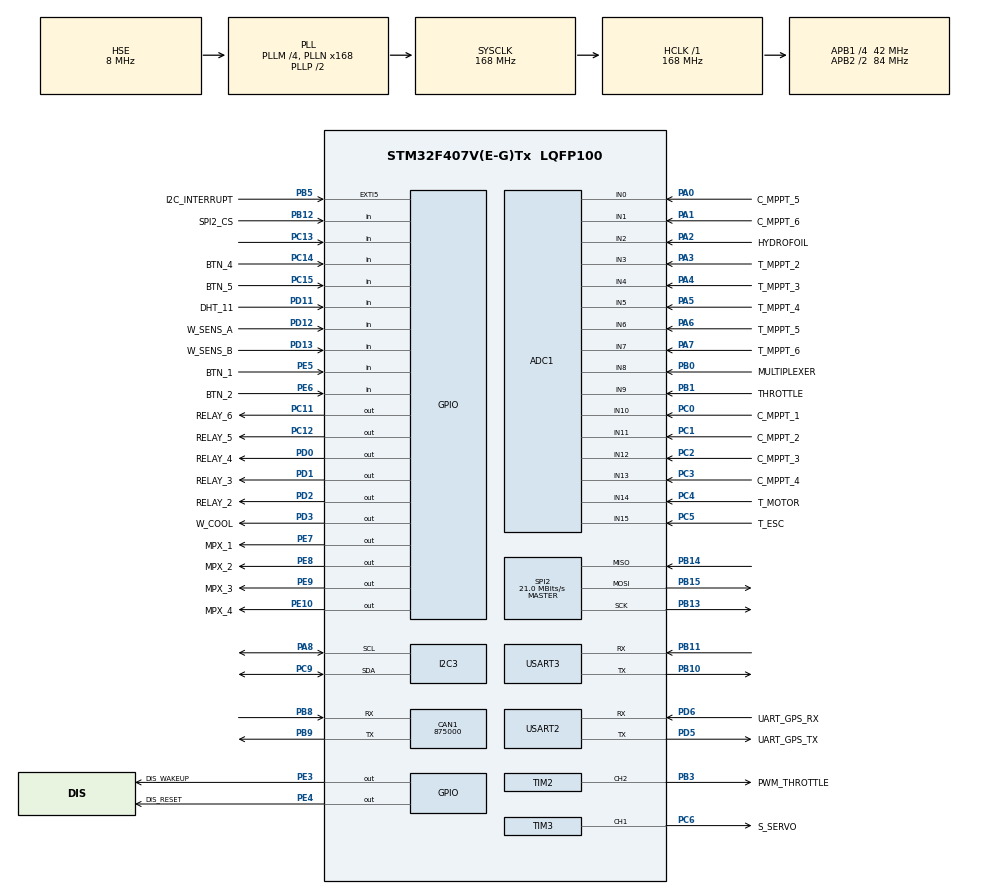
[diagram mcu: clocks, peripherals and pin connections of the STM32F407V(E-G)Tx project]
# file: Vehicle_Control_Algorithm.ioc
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ADC1.Channel-0\#ChannelRegularConversion=ADC_CHANNEL_0
ADC1.Channel-1\#ChannelRegularConversion=ADC_CHANNEL_1
ADC1.Channel-10\#ChannelRegularConversion=ADC_CHANNEL_10
ADC1.Channel-11\#ChannelRegularConversion=ADC_CHANNEL_11
ADC1.Channel-12\#ChannelRegularConversion=ADC_CHANNEL_12
ADC1.Channel-13\#ChannelRegularConversion=ADC_CHANNEL_13
ADC1.Channel-14\#ChannelRegularConversion=ADC_CHANNEL_14
ADC1.Channel-15\#ChannelRegularConversion=ADC_CHANNEL_15
ADC1.Channel-2\#ChannelRegularConversion=ADC_CHANNEL_2
ADC1.Channel-3\#ChannelRegularConversion=ADC_CHANNEL_3
ADC1.Channel-4\#ChannelRegularConversion=ADC_CHANNEL_4
ADC1.Channel-5\#ChannelRegularConversion=ADC_CHANNEL_5
ADC1.Channel-6\#ChannelRegularConversion=ADC_CHANNEL_6
ADC1.Channel-7\#ChannelRegularConversion=ADC_CHANNEL_7
ADC1.Channel-8\#ChannelRegularConversion=ADC_CHANNEL_8
ADC1.Channel-9\#ChannelRegularConversion=ADC_CHANNEL_9
ADC1.ContinuousConvMode=ENABLE
ADC1.DMAContinuousRequests=ENABLE
ADC1.EnableAnalogWatchDog=false
ADC1.InjNumberOfConversion=0
ADC1.NbrOfConversion=16
ADC1.NbrOfConversionFlag=1
ADC1.Rank-0\#ChannelRegularConversion=1
ADC1.Rank-1\#ChannelRegularConversion=2
ADC1.Rank-10\#ChannelRegularConversion=11
ADC1.Rank-11\#ChannelRegularConversion=12
ADC1.Rank-12\#ChannelRegularConversion=13
ADC1.Rank-13\#ChannelRegularConversion=14
ADC1.Rank-14\#ChannelRegularConversion=15
ADC1.Rank-15\#ChannelRegularConversion=16
ADC1.Rank-2\#ChannelRegularConversion=3
ADC1.Rank-3\#ChannelRegularConversion=4
ADC1.Rank-4\#ChannelRegularConversion=5
ADC1.Rank-5\#ChannelRegularConversion=6
ADC1.Rank-6\#ChannelRegularConversion=7
ADC1.Rank-7\#ChannelRegularConversion=8
ADC1.Rank-8\#ChannelRegularConversion=9
ADC1.Rank-9\#ChannelRegularConversion=10
ADC1.SamplingTime-0\#ChannelRegularConversion=ADC_SAMPLETIME_15CYCLES
ADC1.SamplingTime-1\#ChannelRegularConversion=ADC_SAMPLETIME_15CYCLES
ADC1.SamplingTime-10\#ChannelRegularConversion=ADC_SAMPLETIME_15CYCLES
ADC1.SamplingTime-11\#ChannelRegularConversion=ADC_SAMPLETIME_15CYCLES
ADC1.SamplingTime-12\#ChannelRegularConversion=ADC_SAMPLETIME_15CYCLES
ADC1.SamplingTime-13\#ChannelRegularConversion=ADC_SAMPLETIME_15CYCLES
ADC1.SamplingTime-14\#ChannelRegularConversion=ADC_SAMPLETIME_15CYCLES
ADC1.SamplingTime-15\#ChannelRegularConversion=ADC_SAMPLETIME_15CYCLES
ADC1.SamplingTime-2\#ChannelRegularConversion=ADC_SAMPLETIME_15CYCLES
ADC1.SamplingTime-3\#ChannelRegularConversion=ADC_SAMPLETIME_15CYCLES
ADC1.SamplingTime-4\#ChannelRegularConversion=ADC_SAMPLETIME_15CYCLES
ADC1.SamplingTime-5\#ChannelRegularConversion=ADC_SAMPLETIME_15CYCLES
ADC1.SamplingTime-6\#ChannelRegularConversion=ADC_SAMPLETIME_15CYCLES
ADC1.SamplingTime-7\#ChannelRegularConversion=ADC_SAMPLETIME_15CYCLES
ADC1.SamplingTime-8\#ChannelRegularConversion=ADC_SAMPLETIME_15CYCLES
ADC1.SamplingTime-9\#ChannelRegularConversion=ADC_SAMPLETIME_15CYCLES
ADC1.master=1
CAN1.CalculateBaudRate=875000
CAN1.CalculateTimeBit=1142
CAN1.CalculateTimeQuantum=380.95238095238096
Dma.ADC1.0.Direction=DMA_PERIPH_TO_MEMORY
Dma.ADC1.0.FIFOMode=DMA_FIFOMODE_DISABLE
Dma.ADC1.0.Instance=DMA2_Stream0
Dma.ADC1.0.MemDataAlignment=DMA_MDATAALIGN_WORD
Dma.ADC1.0.MemInc=DMA_MINC_ENABLE
Dma.ADC1.0.Mode=DMA_CIRCULAR
Dma.ADC1.0.PeriphDataAlignment=DMA_PDATAALIGN_WORD
Dma.ADC1.0.PeriphInc=DMA_PINC_DISABLE
Dma.ADC1.0.Priority=DMA_PRIORITY_LOW
Dma.Request0=ADC1
Dma.Request1=USART2_RX
Dma.USART2_RX.1.Direction=DMA_PERIPH_TO_MEMORY
Dma.USART2_RX.1.FIFOMode=DMA_FIFOMODE_DISABLE
Dma.USART2_RX.1.Instance=DMA1_Stream5
Dma.USART2_RX.1.MemDataAlignment=DMA_MDATAALIGN_BYTE
Dma.USART2_RX.1.MemInc=DMA_MINC_ENABLE
Dma.USART2_RX.1.Mode=DMA_CIRCULAR
Dma.USART2_RX.1.PeriphDataAlignment=DMA_PDATAALIGN_BYTE
Dma.USART2_RX.1.PeriphInc=DMA_PINC_DISABLE
Dma.USART2_RX.1.Priority=DMA_PRIORITY_LOW
FREERTOS.Tasks01=Data_Manage_,2,1024,Data_Management_Algorithm,Default,NULL,Dynamic,NULL,NULL;Throttle_,2,256,Throttle_Algorithm,Default,NULL,Dynamic,NULL,NULL;Temp_Man_,-1,2048,Temperature_Manegement_Algorithm,Default,NULL,Dynamic,NULL,NULL;Range_,1,1024,Range_Algorithm,Default,NULL,Dynamic,NULL,NULL;Display_,-1,1024,Display_Algorithm,Default,NULL,Dynamic,NULL,NULL;Hydrofoil,2,256,Hydrofoil_Algorithm,Default,NULL,Dynamic,NULL,NULL
FREERTOS.configTOTAL_HEAP_SIZE=25800
Mcu.Family=STM32F4
Mcu.Name=STM32F407V(E-G)Tx
Mcu.Package=LQFP100
NVIC.DMA1_Stream5_IRQn=true\:5\:0\:false\:false\:true\:true\:false\:true\:true
NVIC.DMA2_Stream0_IRQn=true\:5\:0\:false\:false\:true\:true\:false\:true\:true
NVIC.PriorityGroup=NVIC_PRIORITYGROUP_4
NVIC.TIM1_CC_IRQn=true\:5\:0\:false\:false\:true\:true\:true\:true\:true
NVIC.TIM5_IRQn=true\:15\:0\:false\:false\:true\:false\:false\:true\:true
NVIC.TimeBase=TIM5_IRQn
NVIC.TimeBaseIP=TIM5
PA0-WKUP.GPIO_Label=C_MPPT_5
PA0-WKUP.Signal=ADCx_IN0
PA1.GPIO_Label=C_MPPT_6
PA1.Signal=ADCx_IN1
PA13.Mode=Serial_Wire
PA13.Signal=SYS_JTMS-SWDIO
PA14.Mode=Serial_Wire
PA14.Signal=SYS_JTCK-SWCLK
PA2.GPIO_Label=HYDROFOIL
PA2.Signal=ADCx_IN2
PA3.GPIO_Label=T_MPPT_2
PA3.Signal=ADCx_IN3
PA4.GPIO_Label=T_MPPT_3
PA4.Signal=ADCx_IN4
PA5.GPIO_Label=T_MPPT_4
PA5.Signal=ADCx_IN5
PA6.GPIO_Label=T_MPPT_5
PA6.Signal=ADCx_IN6
PA7.GPIO_Label=T_MPPT_6
PA7.Signal=ADCx_IN7
PA8.Mode=I2C
PA8.Signal=I2C3_SCL
PB0.GPIO_Label=MULTIPLEXER
PB0.Signal=ADCx_IN8
PB1.GPIO_Label=THROTTLE
PB1.Signal=ADCx_IN9
PB10.Mode=Asynchronous
PB10.Signal=USART3_TX
PB11.Mode=Asynchronous
PB11.Signal=USART3_RX
PB12.GPIO_Label=SPI2_CS
PB12.Signal=GPIO_Input
PB13.Mode=Full_Duplex_Master
PB13.Signal=SPI2_SCK
PB14.Mode=Full_Duplex_Master
PB14.Signal=SPI2_MISO
PB15.Mode=Full_Duplex_Master
PB15.Signal=SPI2_MOSI
PB3.GPIO_Label=PWM_THROTTLE
PB3.Signal=S_TIM2_CH2
PB5.GPIO_Label=I2C_INTERRUPT
PB5.Signal=GPXTI5
PB8.Mode=CAN_Activate
PB8.Signal=CAN1_RX
PB9.Mode=CAN_Activate
PB9.Signal=CAN1_TX
PC0.GPIO_Label=C_MPPT_1
PC0.Signal=ADCx_IN10
PC1.GPIO_Label=C_MPPT_2
PC1.Signal=ADCx_IN11
PC11.GPIO_Label=RELAY_6
PC11.Signal=GPIO_Output
PC12.GPIO_Label=RELAY_5
PC12.Signal=GPIO_Output
PC13-ANTI_TAMP.Signal=GPIO_Input
PC14-OSC32_IN.GPIO_Label=BTN_4
PC14-OSC32_IN.Signal=GPIO_Input
PC15-OSC32_OUT.GPIO_Label=BTN_5
PC15-OSC32_OUT.Signal=GPIO_Input
PC2.GPIO_Label=C_MPPT_3
PC2.Signal=ADCx_IN12
PC3.GPIO_Label=C_MPPT_4
PC3.Signal=ADCx_IN13
PC4.GPIO_Label=T_MOTOR
PC4.Signal=ADCx_IN14
PC5.GPIO_Label=T_ESC
PC5.Signal=ADCx_IN15
PC6.GPIO_Label=S_SERVO
PC6.Signal=S_TIM3_CH1
PC9.Mode=I2C
PC9.Signal=I2C3_SDA
PD0.GPIO_Label=RELAY_4
PD0.Signal=GPIO_Output
PD1.GPIO_Label=RELAY_3
PD1.Signal=GPIO_Output
PD11.GPIO_Label=DHT_11
PD11.Signal=GPIO_Input
PD12.GPIO_Label=W_SENS_A
PD12.Signal=GPIO_Input
PD13.GPIO_Label=W_SENS_B
PD13.Signal=GPIO_Input
PD2.GPIO_Label=RELAY_2
PD2.Signal=GPIO_Output
PD3.GPIO_Label=W_COOL
PD3.Signal=GPIO_Output
PD5.GPIO_Label=UART_GPS_TX
PD5.Mode=Asynchronous
PD5.Signal=USART2_TX
PD6.GPIO_Label=UART_GPS_RX
PD6.Mode=Asynchronous
PD6.Signal=USART2_RX
PE10.GPIO_Label=MPX_4
PE10.Signal=GPIO_Output
PE3.GPIO_Label=DIS_WAKEUP
PE3.Signal=GPIO_Output
PE4.GPIO_Label=DIS_RESET
PE4.Signal=GPIO_Output
PE5.GPIO_Label=BTN_1
PE5.Signal=GPIO_Input
PE6.GPIO_Label=BTN_2
PE6.Signal=GPIO_Input
PE7.GPIO_Label=MPX_1
PE7.Signal=GPIO_Output
PE8.GPIO_Label=MPX_2
PE8.Signal=GPIO_Output
PE9.GPIO_Label=MPX_3
PE9.Signal=GPIO_Output
PH0-OSC_IN.Mode=HSE-External-Oscillator
PH0-OSC_IN.Signal=RCC_OSC_IN
PH1-OSC_OUT.Mode=HSE-External-Oscillator
PH1-OSC_OUT.Signal=RCC_OSC_OUT
ProjectManager.HeapSize=0x200
ProjectManager.StackSize=0x400
ProjectManager.TargetToolchain=STM32CubeIDE
RCC.48MHZClocksFreq_Value=84000000
RCC.AHBFreq_Value=168000000
RCC.APB1CLKDivider=RCC_HCLK_DIV4
RCC.APB1Freq_Value=42000000
RCC.APB1TimFreq_Value=84000000
RCC.APB2CLKDivider=RCC_HCLK_DIV2
RCC.APB2Freq_Value=84000000
RCC.APB2TimFreq_Value=168000000
RCC.CortexFreq_Value=168000000
RCC.HCLKFreq_Value=168000000
RCC.HSE_VALUE=8000000
RCC.HSI_VALUE=16000000
RCC.LSE_VALUE=32768
RCC.PLLM=4
RCC.PLLN=168
RCC.PLLSourceVirtual=RCC_PLLSOURCE_HSE
RCC.SYSCLKFreq_VALUE=168000000
RCC.SYSCLKSource=RCC_SYSCLKSOURCE_PLLCLK
RCC.VCOOutputFreq_Value=336000000
SH.ADCx_IN0.0=ADC1_IN0,IN0
SH.ADCx_IN1.0=ADC1_IN1,IN1
SH.ADCx_IN10.0=ADC1_IN10,IN10
SH.ADCx_IN11.0=ADC1_IN11,IN11
SH.ADCx_IN12.0=ADC1_IN12,IN12
SH.ADCx_IN12.1=ADC2_IN12
SH.ADCx_IN13.0=ADC1_IN13,IN13
SH.ADCx_IN13.1=ADC2_IN13
SH.ADCx_IN14.0=ADC1_IN14,IN14
SH.ADCx_IN15.0=ADC1_IN15,IN15
SH.ADCx_IN2.0=ADC1_IN2,IN2
SH.ADCx_IN3.0=ADC1_IN3,IN3
SH.ADCx_IN4.0=ADC1_IN4,IN4
SH.ADCx_IN5.0=ADC1_IN5,IN5
SH.ADCx_IN6.0=ADC1_IN6,IN6
SH.ADCx_IN7.0=ADC1_IN7,IN7
SH.ADCx_IN8.0=ADC1_IN8,IN8
SH.ADCx_IN9.0=ADC1_IN9,IN9
SH.S_TIM2_CH2.0=TIM2_CH2,PWM Generation2 CH2
SH.S_TIM3_CH1.0=TIM3_CH1,PWM Generation1 CH1
SPI2.CalculateBaudRate=21.0 MBits/s
SPI2.Direction=SPI_DIRECTION_2LINES
SPI2.Mode=SPI_MODE_MASTER
SPI2.VirtualType=VM_MASTER
TIM1.Period=0xffff-1
TIM1.Prescaler=168-1
TIM2.Channel-PWM\ Generation2\ CH2=TIM_CHANNEL_2
TIM2.Period=1000-1
TIM2.Prescaler=1680-1
TIM3.Channel-PWM\ Generation1\ CH1=TIM_CHANNEL_1
TIM3.Period=20000-1
TIM3.Prescaler=84-1
USART2.VirtualMode=VM_ASYNC
USART3.VirtualMode=VM_ASYNC
VP_FREERTOS_VS_CMSIS_V1.Mode=CMSIS_V1
VP_SYS_VS_tim5.Mode=TIM5
VP_TIM1_VS_ClockSourceINT.Mode=Internal
board=custom

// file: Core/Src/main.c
/* USER CODE BEGIN Header */
/**
  ******************************************************************************
  * @file           : main.c
  * @brief          : Main program body
  ******************************************************************************
  * @attention
  *
  * Copyright (c) 2024 STMicroelectronics.
  * All rights reserved.
  *
  * This software is licensed under terms that can be found in the LICENSE file
  * in the root directory of this software component.
  * If no LICENSE file comes with this software, it is provided AS-IS.
  *
  ******************************************************************************
  */
/* USER CODE END Header */
#include "main.h"
#include "cmsis_os.h"
#include "adc.h"
#include "can.h"
#include "dma.h"
#include "i2c.h"
#include "spi.h"
#include "tim.h"
#include "usart.h"
#include "gpio.h"

/* USER CODE BEGIN Includes */
#include "display.h"
/* USER CODE END Includes */

void SystemClock_Config(void);
void MX_FREERTOS_Init(void);

int main(void)
{

  /* MCU Configuration--------------------------------------------------------*/

  /* Reset of all peripherals, Initializes the Flash interface and the Systick. */
  HAL_Init();

  /* Configure the system clock */
  SystemClock_Config();

  /* Initialize all configured peripherals */
  MX_GPIO_Init();
  MX_DMA_Init();
  MX_ADC1_Init();
  MX_CAN1_Init();
  MX_SPI2_Init();
  MX_USART2_UART_Init();
  MX_TIM2_Init();
  MX_TIM3_Init();
  MX_TIM1_Init();
  MX_I2C3_Init();
  MX_USART3_UART_Init();

  /* Call init function for freertos objects (in freertos.c) */
  MX_FREERTOS_Init();

  /* Start scheduler */
  osKernelStart();

  /* We should never get here as control is now taken by the scheduler */
  /* Infinite loop */
  while (1)
  {

  }
}

void SystemClock_Config(void)
{
  RCC_OscInitTypeDef RCC_OscInitStruct = {0};
  RCC_ClkInitTypeDef RCC_ClkInitStruct = {0};

  /** Configure the main internal regulator output voltage
  */
  __HAL_RCC_PWR_CLK_ENABLE();
  __HAL_PWR_VOLTAGESCALING_CONFIG(PWR_REGULATOR_VOLTAGE_SCALE1);

  /** Initializes the RCC Oscillators according to the specified parameters
  * in the RCC_OscInitTypeDef structure.
  */
  RCC_OscInitStruct.OscillatorType = RCC_OSCILLATORTYPE_HSE;
  RCC_OscInitStruct.HSEState = RCC_HSE_ON;
  RCC_OscInitStruct.PLL.PLLState = RCC_PLL_ON;
  RCC_OscInitStruct.PLL.PLLSource = RCC_PLLSOURCE_HSE;
  RCC_OscInitStruct.PLL.PLLM = 4;
  RCC_OscInitStruct.PLL.PLLN = 168;
  RCC_OscInitStruct.PLL.PLLP = RCC_PLLP_DIV2;
  RCC_OscInitStruct.PLL.PLLQ = 4;
  if (HAL_RCC_OscConfig(&RCC_OscInitStruct) != HAL_OK)
  {
    Error_Handler();
  }

  /** Initializes the CPU, AHB and APB buses clocks
  */
  RCC_ClkInitStruct.ClockType = RCC_CLOCKTYPE_HCLK|RCC_CLOCKTYPE_SYSCLK
                              |RCC_CLOCKTYPE_PCLK1|RCC_CLOCKTYPE_PCLK2;
  RCC_ClkInitStruct.SYSCLKSource = RCC_SYSCLKSOURCE_PLLCLK;
  RCC_ClkInitStruct.AHBCLKDivider = RCC_SYSCLK_DIV1;
  RCC_ClkInitStruct.APB1CLKDivider = RCC_HCLK_DIV4;
  RCC_ClkInitStruct.APB2CLKDivider = RCC_HCLK_DIV2;

  if (HAL_RCC_ClockConfig(&RCC_ClkInitStruct, FLASH_LATENCY_5) != HAL_OK)
  {
    Error_Handler();
  }
}

void HAL_TIM_PeriodElapsedCallback(TIM_HandleTypeDef *htim)
{
  if (htim->Instance == TIM5) {
    HAL_IncTick();
  }
}

void Error_Handler(void)
{
  __disable_irq();
  while (1)
  {
  }
}

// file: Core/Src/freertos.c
/* USER CODE BEGIN Header */
/**
  ******************************************************************************
  * File Name          : freertos.c
  * Description        : Code for freertos applications
  ******************************************************************************
  * @attention
  *
  * Copyright (c) 2024 STMicroelectronics.
  * All rights reserved.
  *
  * This software is licensed under terms that can be found in the LICENSE file
  * in the root directory of this software component.
  * If no LICENSE file comes with this software, it is provided AS-IS.
  *
  ******************************************************************************
  */

/* USER CODE END Header */

#include "FreeRTOS.h"
#include "task.h"
#include "main.h"
#include "cmsis_os.h"

/* USER CODE BEGIN Includes */
#include "adc.h"
#include "can.h"
#include "dma.h"
#include "i2c.h"
#include "spi.h"
#include "tim.h"
#include "usart.h"
#include "gpio.h"
#include "THROTTLE.h"
#include "THERMALCONTROL.h"
#include "RANGE.h"
#include "gps.h"
#include "display.h"
#include "INTERFACE.h"
/* USER CODE END Includes */

/* USER CODE BEGIN Variables */
typedef struct Thr_Veriables {
	uint32_t ADC_THR;
	uint32_t THR_PERC; //CAN
	uint32_t THR_ADC_FILTERED;
	uint32_t THR_DUTY_CYCLE;

}THR_V;

typedef struct Hydrofoil_Veriables{
	uint32_t ADC_HYD;
	uint32_t HYD_PERC;
	uint32_t HYD_ADC_FILTERED;
	uint32_t HYD_DUTY_CYCLE;
}HYD_V;

typedef struct Thermal_Management_Veriables {
	uint32_t ADC_MPPT_1;
	uint32_t ADC_MPPT_2;
	uint32_t ADC_MPPT_3;
	uint32_t ADC_MPPT_4;
	uint32_t ADC_MPPT_5;
	uint32_t ADC_MPPT_6;
	uint32_t ADC_C_MPPT; // MPPT CABLE
	uint32_t ADC_MOTOR;
	uint32_t ADC_ESC;
	uint32_t ADC_CONV_1;
	uint32_t ADC_CONV_2;
	uint32_t ADC_MCU;
	uint32_t ADC_M_TERM; // 48V TERMINAL
	uint32_t ADC_M_CABLE; // BATTERY MAIN OUTPUT CABLE

	float TEMP_MPPT1; //CAN
	float TEMP_MPPT2; //CAN
	float TEMP_MPPT3; //CAN
	float TEMP_MPPT4; //CAN
	float TEMP_MPPT5; //CAN
	float TEMP_MPPT6; //CAN
	float TEMP_C_MPPT;  // MPPT CABLE //CAN
	float TEMP_MOTOR; //CAN
	float TEMP_ESC; //CAN
	float TEMP_CONV_1; //CAN
	float TEMP_CONV_2; //CAN
	float TEMP_MCU; //CAN
	float TEMP_M_TERM;  // 48V TERMINAL  //CAN
	float TEMP_M_CABLE;  // BATTERY MAIN OUTPUT CABLE //CAN

	float TEMP_BAT; // BATTERY TEMP VALUE BY CANBUS LINE  //CAN (BMS)

	float TEMP_CABIN; // TEMP OF CABIN   //CAN
	float HUM_CABIN;  // HUMIDITY OF CABIN  //CAN

}TMA_V;

typedef struct Gps_Veriables{
	float KM_SPEED; // SPEED IN KM
	float KNT_SPEED; // SPEED IN KNOT
	float H_ANGLE; // ANGLE OF HYDROFOIL

}GPS_V;
typedef struct Power_Veriables{
	uint32_t R_ENERGY; // REMAINED ENERGY [Ah]          //CAN (BMS)
	uint32_t CN_CURRENT; // TOTAL CONSAPTED CURRENT [A] //CAN (BMS)
	uint32_t R_TIME; // REMAIED TIME [MINUTE]           //CAN

	uint32_t ADC_C_MPPT_1; // INSTANT CURRENT OF MPPT 1
	uint32_t ADC_C_MPPT_2;
	uint32_t ADC_C_MPPT_3;
	uint32_t ADC_C_MPPT_4;
	uint32_t ADC_C_MPPT_5;
	uint32_t ADC_C_MPPT_6;

	uint32_t C_MPPT_1; //CAN
	uint32_t C_MPPT_2; //CAN
	uint32_t C_MPPT_3; //CAN
	uint32_t C_MPPT_4; //CAN
	uint32_t C_MPPT_5; //CAN
 	uint32_t C_MPPT_6; //CAN

	uint32_t ADC_V_SOLAR_GROUP_1;
	uint32_t ADC_V_SOLAR_GROUP_2;
	uint32_t ADC_V_SOLAR_GROUP_3;
	uint32_t ADC_V_SOLAR_GROUP_4;
	uint32_t ADC_V_SOLAR_GROUP_5;
	uint32_t ADC_V_SOLAR_GROUP_6;

	uint32_t V_SOLAR_GROUP_1; //CAN
	uint32_t V_SOLAR_GROUP_2; //CAN
	uint32_t V_SOLAR_GROUP_3; //CAN
	uint32_t V_SOLAR_GROUP_4; //CAN
	uint32_t V_SOLAR_GROUP_5; //CAN
	uint32_t V_SOLAR_GROUP_6; //CAN

	uint32_t AVARAGE_CN_CURRENT;

}PWR_V;

//pointer defining

THR_V THROTTLE;
TMA_V TEMP;
GPS_V GPS;
PWR_V POWER;
HYD_V HYDROFOIL;

//general veriable defining
uint32_t ADC_BUFFER[16];
uint8_t gps_flag = 0;
struct gps gps1;
float temp_1;
float temp_2;

/* USER CODE END Variables */
osThreadId Data_Manage_Handle;
osThreadId Throttle_Handle;
osThreadId Temp_Man_Handle;
osThreadId Range_Handle;
osThreadId Display_Handle;
osThreadId HydrofoilHandle;

/* USER CODE BEGIN FunctionPrototypes */

/**********************************************************************************************
 * Function Name  : void HAL_ADC_ConvCpltCallback(ADC_HandleTypeDef* hadc)
 * Description    : interrupt handler for adc
 * Input          : None
 * Output         : Pot variables
 * Return         : None
 * Attention	  : None
 **********************************************************************************************/
void HAL_ADC_ConvCpltCallback(ADC_HandleTypeDef* hadc)
{
  if(hadc->Instance == ADC1){
	  POWER.ADC_C_MPPT_5 = ADC_BUFFER[0];
	  POWER.ADC_C_MPPT_6 = ADC_BUFFER[1];
	  HYDROFOIL.ADC_HYD = ADC_BUFFER[2];
	  TEMP.ADC_MPPT_2 = ADC_BUFFER[3];
	  TEMP.ADC_MPPT_3 = ADC_BUFFER[4];
	  TEMP.ADC_MPPT_4 = ADC_BUFFER[5];
	  TEMP.ADC_MPPT_5 = ADC_BUFFER[6];
	  TEMP.ADC_MPPT_6 = ADC_BUFFER[7];
	  TEMP.ADC_CONV_1 = ADC_BUFFER[8];
	  THROTTLE.ADC_THR = ADC_BUFFER[9];
	  POWER.ADC_C_MPPT_1 = ADC_BUFFER[10];
	  POWER.ADC_C_MPPT_2 = ADC_BUFFER[11];
	  POWER.ADC_C_MPPT_3 = ADC_BUFFER[12];
	  POWER.ADC_C_MPPT_4 = ADC_BUFFER[13];
	  TEMP.ADC_MOTOR = ADC_BUFFER[14];
	  TEMP.ADC_ESC = ADC_BUFFER[15];
  }
}

/**********************************************************************************************
 * Function Name  : void HAL_UART_RxCpltCallback(UART_HandleTypeDef *huart)
 * Description    : interrupt handler for gps communication
 * Input          : None
 * Output         : gps_flag
 * Return         : None
 * Attention	  : None
 **********************************************************************************************/
void HAL_UART_RxCpltCallback(UART_HandleTypeDef *huart)
	{
		gps_flag=1;
	}

/* USER CODE END FunctionPrototypes */

void Data_Management_Algorithm(void const * argument);
void Throttle_Algorithm(void const * argument);
void Temperature_Manegement_Algorithm(void const * argument);
void Range_Algorithm(void const * argument);
void Display_Algorithm(void const * argument);
void Hydrofoil_Algorithm(void const * argument);

void MX_FREERTOS_Init(void); /* (MISRA C 2004 rule 8.1) */

/* GetIdleTaskMemory prototype (linked to static allocation support) */
void vApplicationGetIdleTaskMemory( StaticTask_t **ppxIdleTaskTCBBuffer, StackType_t **ppxIdleTaskStackBuffer, uint32_t *pulIdleTaskStackSize );

/* USER CODE BEGIN GET_IDLE_TASK_MEMORY */
static StaticTask_t xIdleTaskTCBBuffer;
static StackType_t xIdleStack[configMINIMAL_STACK_SIZE];

void vApplicationGetIdleTaskMemory( StaticTask_t **ppxIdleTaskTCBBuffer, StackType_t **ppxIdleTaskStackBuffer, uint32_t *pulIdleTaskStackSize )
{
  *ppxIdleTaskTCBBuffer = &xIdleTaskTCBBuffer;
  *ppxIdleTaskStackBuffer = &xIdleStack[0];
  *pulIdleTaskStackSize = configMINIMAL_STACK_SIZE;
  /* place for user code */
}
/* USER CODE END GET_IDLE_TASK_MEMORY */

void MX_FREERTOS_Init(void) {

  /* Create the thread(s) */
  /* definition and creation of Data_Manage_ */
  osThreadDef(Data_Manage_, Data_Management_Algorithm, osPriorityHigh, 0, 1024);
  Data_Manage_Handle = osThreadCreate(osThread(Data_Manage_), NULL);

  /* definition and creation of Throttle_ */
  osThreadDef(Throttle_, Throttle_Algorithm, osPriorityHigh, 0, 256);
  Throttle_Handle = osThreadCreate(osThread(Throttle_), NULL);

  /* definition and creation of Temp_Man_ */
  osThreadDef(Temp_Man_, Temperature_Manegement_Algorithm, osPriorityBelowNormal, 0, 2048);
  Temp_Man_Handle = osThreadCreate(osThread(Temp_Man_), NULL);

  /* definition and creation of Range_ */
  osThreadDef(Range_, Range_Algorithm, osPriorityAboveNormal, 0, 1024);
  Range_Handle = osThreadCreate(osThread(Range_), NULL);

  /* definition and creation of Display_ */
  osThreadDef(Display_, Display_Algorithm, osPriorityBelowNormal, 0, 1024);
  Display_Handle = osThreadCreate(osThread(Display_), NULL);

  /* definition and creation of Hydrofoil */
  osThreadDef(Hydrofoil, Hydrofoil_Algorithm, osPriorityHigh, 0, 256);
  HydrofoilHandle = osThreadCreate(osThread(Hydrofoil), NULL);

}

void Data_Management_Algorithm(void const * argument)
{
  /* USER CODE BEGIN Data_Management_Algorithm */
  /* Infinite loop */

	HAL_ADC_Start_DMA(&hadc1, ADC_BUFFER, 16);

  for(;;)
  {
	  GPS_get_location1();
	  GPS_get_location2();

    osDelay(5);
  }
  /* USER CODE END Data_Management_Algorithm */
}

void Throttle_Algorithm(void const * argument)
{
  /* USER CODE BEGIN Throttle_Algorithm */
  /* Infinite loop */
// uint32_t THR_ADC_PREVIOUS = 0;

  for(;;)
  {
	  //THR_ADC_PREVIOUS = THROTTLE.ADC_THR;

	  THROTTLE.THR_ADC_FILTERED = THR_pt1Filter_2(THROTTLE.ADC_THR, 20, 1.0, 0.001);

	  THROTTLE.THR_DUTY_CYCLE = THR_map(THROTTLE.THR_ADC_FILTERED, 0, 4096, 100, 300);

	  TIM2->CCR2 = THROTTLE.THR_DUTY_CYCLE;

    osDelay(10);
  }
  /* USER CODE END Throttle_Algorithm */
}

void Temperature_Manegement_Algorithm(void const * argument)
{
  /* USER CODE BEGIN Temperature_Manegement_Algorithm */
  /* Infinite loop */

  for(;;)
  {

//	  TEMP.TEMP_MPPT1 = TMA_calc_temperature(TEMP.ADC_MPPT_1);
//	  TEMP.TEMP_MPPT2 = TMA_calc_temperature(TEMP.ADC_MPPT_2);
//	  TEMP.TEMP_MPPT3 = TMA_calc_temperature(TEMP.ADC_MPPT_3);
//	  TEMP.TEMP_MPPT4 = TMA_calc_temperature(TEMP.ADC_MPPT_4);
//	  TEMP.TEMP_MPPT5 = TMA_calc_temperature(TEMP.ADC_MPPT_5);
//	  TEMP.TEMP_MPPT6 = TMA_calc_temperature(TEMP.ADC_MPPT_6);
//	  TEMP.TEMP_CONV_1 = TMA_calc_temperature(TEMP.ADC_CONV_1);
//	  TEMP.TEMP_ESC = TMA_calc_temperature(TEMP.ADC_ESC);
//	  TEMP.TEMP_MOTOR = TMA_calc_temperature(TEMP.ADC_MOTOR);
//
//
//	  SELECTED_TEMP = temp_select(TEMP->TEMP_ESC, TEMP->TEMP_MOTOR);
//
//	  TMA_cooling_automation(GPIOD, W_COOL_Pin, SELECTED_TEMP, 45, 3, 1);

	  TEMP.TEMP_MPPT1 = 35.0;
      TEMP.TEMP_MPPT2 = 36.0;
      TEMP.TEMP_MPPT3 = 34.0;
	  TEMP.TEMP_MPPT4 = 38.0;
	  TEMP.TEMP_MPPT5 = 34.0;
	  TEMP.TEMP_MPPT6 = 32.0;
	  TEMP.TEMP_CONV_1 = 38.0;
	  TEMP.TEMP_ESC = 45.0;
	  TEMP.TEMP_MOTOR = 46.0;

	  temp_1 = 32.0;

//	  osThreadSuspend(Range_Handle);
//	  osThreadSuspend(HydrofoilHandle);
//	  osThreadSuspend(Throttle_Handle);
//	  osThreadSuspend(Data_Manage_Handle);

    osDelay(3000);
  }
  /* USER CODE END Temperature_Manegement_Algorithm */
}

void Range_Algorithm(void const * argument)
{
  /* USER CODE BEGIN Range_Algorithm */
  /* Infinite loop */

  for(;;)
  {
	  CircularBuffer CB;

	  R_initCircularBuffer(&CB);

	  if(POWER.CN_CURRENT > 0){

		 R_addCurrentReading(&CB, POWER.CN_CURRENT);
	  }

	  POWER.AVARAGE_CN_CURRENT = R_calculateAverage(&CB);

	  POWER.R_ENERGY = 45;

	  POWER.R_TIME = POWER.AVARAGE_CN_CURRENT / POWER.R_ENERGY;

	  temp_2 = temp_1;

    osDelay(10);
  }
  /* USER CODE END Range_Algorithm */
}

void Display_Algorithm(void const * argument)
{
  /* USER CODE BEGIN Display_Algorithm */
  /* Infinite loop */
//	 display_reset();

	HAL_TIM_Base_Start(&htim1);

//	 display_wakeup();

  for(;;)
  {

//	  display_reset();
//	  __HAL_TIM_SET_COUNTER(&htim1, 20);
//
//	  TEMP.ADC_MCU = __HAL_TIM_GET_COUNTER(&htim1);
//
//
//	   while(__HAL_TIM_GET_COUNTER(&htim1) < 30){
//
//		   TEMP.ADC_MCU = __HAL_TIM_GET_COUNTER(&htim1);
//
//	   }

	  display_wakeup();

//	  interface_write_logo(0, 0);
	  display_clear();
	  display_fill_circle(40, 40, 20);
	  display_string("Tekrar Merhabalar aq", 100, 100);
	  display_update();

//	  interface_write_power(300, 20, POWER.CN_CURRENT);
//
//	  interface_write_speed(300, 200, GPS.KNT_SPEED);
//
//	  interface_write_hAngle(300, 400, HYDROFOIL.HYD_PERC);
//
//	  interface_write_remaningTime(50, 200, POWER.R_TIME);
//
//	  interface_write_mtrTmp(50, 400, TEMP.TEMP_MOTOR);
//
//	  interface_write_escTmp(550, 400, TEMP.TEMP_ESC);

	  osThreadSuspend(Range_Handle);
	  osThreadSuspend(HydrofoilHandle);
	  osThreadSuspend(Throttle_Handle);
	  osThreadSuspend(Data_Manage_Handle);

    osDelay(5000);
  }
  /* USER CODE END Display_Algorithm */
}

void Hydrofoil_Algorithm(void const * argument)
{
  /* USER CODE BEGIN Hydrofoil_Algorithm */
  /* Infinite loop */

  for(;;)
  {

	  HYDROFOIL.HYD_ADC_FILTERED = THR_pt1Filter_2(HYDROFOIL.ADC_HYD, 20, 1.0, 0.001);

	  HYDROFOIL.HYD_DUTY_CYCLE = THR_map(HYDROFOIL.HYD_ADC_FILTERED, 0, 4096, 100, 300);

	  TIM3->CCR1 = HYDROFOIL.HYD_DUTY_CYCLE;

    osDelay(10);
  }
  /* USER CODE END Hydrofoil_Algorithm */
}
